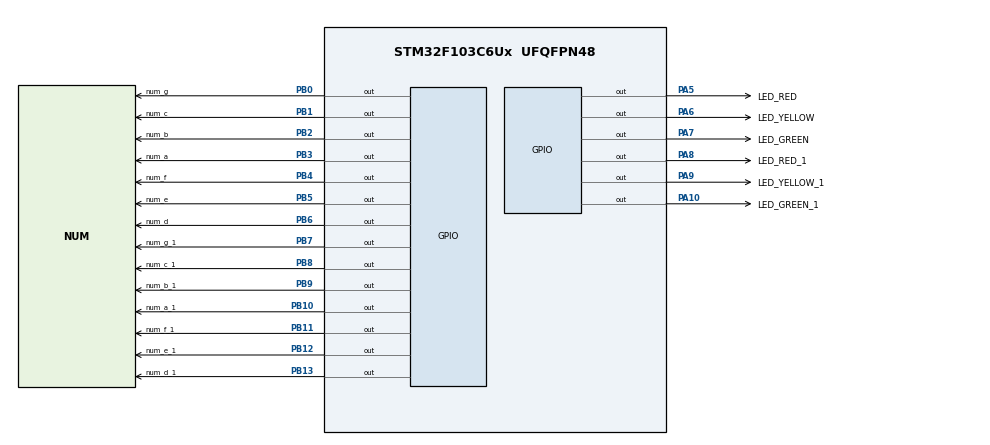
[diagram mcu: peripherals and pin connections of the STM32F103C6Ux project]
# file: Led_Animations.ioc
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Mcu.Family=STM32F1
Mcu.Name=STM32F103C6Ux
Mcu.Package=UFQFPN48
NVIC.PriorityGroup=NVIC_PRIORITYGROUP_4
NVIC.TIM2_IRQn=true\:0\:0\:false\:false\:true\:true\:true
PA10.GPIO_Label=LED_GREEN_1
PA10.Signal=GPIO_Output
PA5.GPIO_Label=LED_RED
PA5.Signal=GPIO_Output
PA6.GPIO_Label=LED_YELLOW
PA6.Signal=GPIO_Output
PA7.GPIO_Label=LED_GREEN
PA7.Signal=GPIO_Output
PA8.GPIO_Label=LED_RED_1
PA8.Signal=GPIO_Output
PA9.GPIO_Label=LED_YELLOW_1
PA9.Signal=GPIO_Output
PB0.GPIO_Label=num_g
PB0.Signal=GPIO_Output
PB1.GPIO_Label=num_c
PB1.Signal=GPIO_Output
PB10.GPIO_Label=num_a_1
PB10.Signal=GPIO_Output
PB11.GPIO_Label=num_f_1
PB11.Signal=GPIO_Output
PB12.GPIO_Label=num_e_1
PB12.Signal=GPIO_Output
PB13.GPIO_Label=num_d_1
PB13.Signal=GPIO_Output
PB2.GPIO_Label=num_b
PB2.Signal=GPIO_Output
PB3.GPIO_Label=num_a
PB3.Signal=GPIO_Output
PB4.GPIO_Label=num_f
PB4.Signal=GPIO_Output
PB5.GPIO_Label=num_e
PB5.Signal=GPIO_Output
PB6.GPIO_Label=num_d
PB6.Signal=GPIO_Output
PB7.GPIO_Label=num_g_1
PB7.Signal=GPIO_Output
PB8.GPIO_Label=num_c_1
PB8.Signal=GPIO_Output
PB9.GPIO_Label=num_b_1
PB9.Signal=GPIO_Output
ProjectManager.HeapSize=0x200
ProjectManager.StackSize=0x400
ProjectManager.TargetToolchain=STM32CubeIDE
RCC.APB1Freq_Value=8000000
RCC.APB2Freq_Value=8000000
TIM2.Period=9
TIM2.Prescaler=7999
VP_SYS_VS_ND.Mode=No_Debug
VP_TIM2_VS_ClockSourceINT.Mode=Internal
board=custom

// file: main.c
/* USER CODE BEGIN Header */
/**
  ******************************************************************************
  * @file           : main.c
  * @brief          : Main program body
  ******************************************************************************
  * @attention
  *
  * <h2><center>&copy; Copyright (c) 2024 STMicroelectronics.
  * All rights reserved.</center></h2>
  *
  * This software component is licensed by ST under BSD 3-Clause license,
  * the "License"; You may not use this file except in compliance with the
  * License. You may obtain a copy of the License at:
  *                        opensource.org/licenses/BSD-3-Clause
  *
  ******************************************************************************
  */
/* USER CODE END Header */
#include "main.h"

/* USER CODE BEGIN Includes */
#include "software_timer.h"

/* USER CODE END Includes */

TIM_HandleTypeDef htim2;

void SystemClock_Config(void);
static void MX_GPIO_Init(void);
static void MX_TIM2_Init(void);

/* USER CODE BEGIN 0 */
void HAL_TIM_PeriodElapsedCallback(TIM_HandleTypeDef *htim)
{
	timerRun();
}
static void display7seg1(int num){
	switch(num){
	  case 0:
		  	  	HAL_GPIO_WritePin(num_a_GPIO_Port, num_a_Pin, GPIO_PIN_RESET);
		  	  	HAL_GPIO_WritePin(num_b_GPIO_Port, num_b_Pin, GPIO_PIN_RESET);
		  	  	HAL_GPIO_WritePin(num_c_GPIO_Port, num_c_Pin, GPIO_PIN_RESET);
		  	  	HAL_GPIO_WritePin(num_d_GPIO_Port, num_d_Pin, GPIO_PIN_RESET);
		  	  	HAL_GPIO_WritePin(num_e_GPIO_Port, num_e_Pin, GPIO_PIN_RESET);
		  	  	HAL_GPIO_WritePin(num_f_GPIO_Port, num_f_Pin, GPIO_PIN_RESET);
		  	  	HAL_GPIO_WritePin(num_g_GPIO_Port, num_g_Pin, GPIO_PIN_SET);
		  	  	break;
	  case 1:
	  		    HAL_GPIO_WritePin(num_a_GPIO_Port, num_a_Pin, GPIO_PIN_SET);
	  		    HAL_GPIO_WritePin(num_b_GPIO_Port, num_b_Pin, GPIO_PIN_RESET);
	  		    HAL_GPIO_WritePin(num_c_GPIO_Port, num_c_Pin, GPIO_PIN_RESET);
	  		    HAL_GPIO_WritePin(num_d_GPIO_Port, num_d_Pin, GPIO_PIN_SET);
	  		    HAL_GPIO_WritePin(num_e_GPIO_Port, num_e_Pin, GPIO_PIN_SET);
	  		    HAL_GPIO_WritePin(num_f_GPIO_Port, num_f_Pin, GPIO_PIN_SET);
	  		    HAL_GPIO_WritePin(num_g_GPIO_Port, num_g_Pin, GPIO_PIN_SET);
	  	  	    break;
	  case 2:
	  			HAL_GPIO_WritePin(num_a_GPIO_Port, num_a_Pin, GPIO_PIN_RESET);
	  			HAL_GPIO_WritePin(num_b_GPIO_Port, num_b_Pin, GPIO_PIN_RESET);
	  			HAL_GPIO_WritePin(num_c_GPIO_Port, num_c_Pin, GPIO_PIN_SET);
	  			HAL_GPIO_WritePin(num_d_GPIO_Port, num_d_Pin, GPIO_PIN_RESET);
	  			HAL_GPIO_WritePin(num_e_GPIO_Port, num_e_Pin, GPIO_PIN_RESET);
	  			HAL_GPIO_WritePin(num_f_GPIO_Port, num_f_Pin, GPIO_PIN_SET);
	  			HAL_GPIO_WritePin(num_g_GPIO_Port, num_g_Pin, GPIO_PIN_RESET);
	  			break;

	  case 3:
	  	  		HAL_GPIO_WritePin(num_a_GPIO_Port, num_a_Pin, GPIO_PIN_RESET);
	  	  		    HAL_GPIO_WritePin(num_b_GPIO_Port, num_b_Pin, GPIO_PIN_RESET);
	  	  		    HAL_GPIO_WritePin(num_c_GPIO_Port, num_c_Pin, GPIO_PIN_RESET);
	  	  		    HAL_GPIO_WritePin(num_d_GPIO_Port, num_d_Pin, GPIO_PIN_RESET);
	  	  		    HAL_GPIO_WritePin(num_e_GPIO_Port, num_e_Pin, GPIO_PIN_SET);
	  	  		    HAL_GPIO_WritePin(num_f_GPIO_Port, num_f_Pin, GPIO_PIN_SET);
	  	  		    HAL_GPIO_WritePin(num_g_GPIO_Port, num_g_Pin, GPIO_PIN_RESET);
	  	  		    break;
	  case 4:
	 	  	  		HAL_GPIO_WritePin(num_a_GPIO_Port, num_a_Pin, GPIO_PIN_SET);
	 	  	  		HAL_GPIO_WritePin(num_b_GPIO_Port, num_b_Pin, GPIO_PIN_RESET);
	 	  	  		HAL_GPIO_WritePin(num_c_GPIO_Port, num_c_Pin, GPIO_PIN_RESET);
	 	  	  		HAL_GPIO_WritePin(num_d_GPIO_Port, num_d_Pin, GPIO_PIN_SET);
	 	  	  		HAL_GPIO_WritePin(num_e_GPIO_Port, num_e_Pin, GPIO_PIN_SET);
	 	  	  		HAL_GPIO_WritePin(num_f_GPIO_Port, num_f_Pin, GPIO_PIN_RESET);
	 	  	  		HAL_GPIO_WritePin(num_g_GPIO_Port, num_g_Pin, GPIO_PIN_RESET);
	 	  	  		break;
	 case 5:
	 	  			HAL_GPIO_WritePin(num_a_GPIO_Port, num_a_Pin, GPIO_PIN_RESET);
	 	  			HAL_GPIO_WritePin(num_b_GPIO_Port, num_b_Pin, GPIO_PIN_SET);
	 	  			HAL_GPIO_WritePin(num_c_GPIO_Port, num_c_Pin, GPIO_PIN_RESET);
	 	  			HAL_GPIO_WritePin(num_d_GPIO_Port, num_d_Pin, GPIO_PIN_RESET);
	 	  			HAL_GPIO_WritePin(num_e_GPIO_Port, num_e_Pin, GPIO_PIN_SET);
	 	  			HAL_GPIO_WritePin(num_f_GPIO_Port, num_f_Pin, GPIO_PIN_RESET);
	 	  			HAL_GPIO_WritePin(num_g_GPIO_Port, num_g_Pin, GPIO_PIN_RESET);
	 	  			break;
	 case 6:
		 	  		HAL_GPIO_WritePin(num_a_GPIO_Port, num_a_Pin, GPIO_PIN_RESET);
		 	  		HAL_GPIO_WritePin(num_b_GPIO_Port, num_b_Pin, GPIO_PIN_SET);
		 	  		HAL_GPIO_WritePin(num_c_GPIO_Port, num_c_Pin, GPIO_PIN_RESET);
		 	  		HAL_GPIO_WritePin(num_d_GPIO_Port, num_d_Pin, GPIO_PIN_RESET);
		 	  		HAL_GPIO_WritePin(num_e_GPIO_Port, num_e_Pin, GPIO_PIN_RESET);
		 	  		HAL_GPIO_WritePin(num_f_GPIO_Port, num_f_Pin, GPIO_PIN_RESET);
		 	  		HAL_GPIO_WritePin(num_g_GPIO_Port, num_g_Pin, GPIO_PIN_RESET);
		 	  		break;
	 case 7:
		 	  		HAL_GPIO_WritePin(num_a_GPIO_Port, num_a_Pin, GPIO_PIN_RESET);
		 	  		HAL_GPIO_WritePin(num_b_GPIO_Port, num_b_Pin, GPIO_PIN_RESET);
		 	  		HAL_GPIO_WritePin(num_c_GPIO_Port, num_c_Pin, GPIO_PIN_RESET);
		 	  		HAL_GPIO_WritePin(num_d_GPIO_Port, num_d_Pin, GPIO_PIN_SET);
		 	  		HAL_GPIO_WritePin(num_e_GPIO_Port, num_e_Pin, GPIO_PIN_SET);
		 	  		HAL_GPIO_WritePin(num_f_GPIO_Port, num_f_Pin, GPIO_PIN_SET);
		 	  		HAL_GPIO_WritePin(num_g_GPIO_Port, num_g_Pin, GPIO_PIN_SET);
		 	  		break;
	 case 8:
		 	  		HAL_GPIO_WritePin(num_a_GPIO_Port, num_a_Pin, GPIO_PIN_RESET);
		 	  		HAL_GPIO_WritePin(num_b_GPIO_Port, num_b_Pin, GPIO_PIN_RESET);
		 	  		HAL_GPIO_WritePin(num_c_GPIO_Port, num_c_Pin, GPIO_PIN_RESET);
		 	  		HAL_GPIO_WritePin(num_d_GPIO_Port, num_d_Pin, GPIO_PIN_RESET);
		 	  		HAL_GPIO_WritePin(num_e_GPIO_Port, num_e_Pin, GPIO_PIN_RESET);
		 	  		HAL_GPIO_WritePin(num_f_GPIO_Port, num_f_Pin, GPIO_PIN_RESET);
		 	  		HAL_GPIO_WritePin(num_g_GPIO_Port, num_g_Pin, GPIO_PIN_RESET);
		 	  		break;
	 case 9:
		 	  		HAL_GPIO_WritePin(num_a_GPIO_Port, num_a_Pin, GPIO_PIN_RESET);
		 	  		HAL_GPIO_WritePin(num_b_GPIO_Port, num_b_Pin, GPIO_PIN_RESET);
		 	  		HAL_GPIO_WritePin(num_c_GPIO_Port, num_c_Pin, GPIO_PIN_RESET);
		 	  		HAL_GPIO_WritePin(num_d_GPIO_Port, num_d_Pin, GPIO_PIN_RESET);
		 	  		HAL_GPIO_WritePin(num_e_GPIO_Port, num_e_Pin, GPIO_PIN_SET);
		 	  		HAL_GPIO_WritePin(num_f_GPIO_Port, num_f_Pin, GPIO_PIN_RESET);
		 	  		HAL_GPIO_WritePin(num_g_GPIO_Port, num_g_Pin, GPIO_PIN_RESET);
		 	  		break;
	default:
					HAL_GPIO_WritePin(num_a_GPIO_Port, num_a_Pin, GPIO_PIN_SET);
					HAL_GPIO_WritePin(num_b_GPIO_Port, num_b_Pin, GPIO_PIN_SET);
					HAL_GPIO_WritePin(num_c_GPIO_Port, num_c_Pin, GPIO_PIN_SET);
					HAL_GPIO_WritePin(num_d_GPIO_Port, num_d_Pin, GPIO_PIN_SET);
					HAL_GPIO_WritePin(num_e_GPIO_Port, num_e_Pin, GPIO_PIN_SET);
					HAL_GPIO_WritePin(num_f_GPIO_Port, num_f_Pin, GPIO_PIN_SET);
					HAL_GPIO_WritePin(num_g_GPIO_Port, num_g_Pin, GPIO_PIN_SET);
					break;
	}
}
static void display7seg2(int num){
    switch(num){
        case 0:
            HAL_GPIO_WritePin(num_a_1_GPIO_Port, num_a_1_Pin, GPIO_PIN_RESET);
            HAL_GPIO_WritePin(num_b_1_GPIO_Port, num_b_1_Pin, GPIO_PIN_RESET);
            HAL_GPIO_WritePin(num_c_1_GPIO_Port, num_c_1_Pin, GPIO_PIN_RESET);
            HAL_GPIO_WritePin(num_d_1_GPIO_Port, num_d_1_Pin, GPIO_PIN_RESET);
            HAL_GPIO_WritePin(num_e_1_GPIO_Port, num_e_1_Pin, GPIO_PIN_RESET);
            HAL_GPIO_WritePin(num_f_1_GPIO_Port, num_f_1_Pin, GPIO_PIN_RESET);
            HAL_GPIO_WritePin(num_g_1_GPIO_Port, num_g_1_Pin, GPIO_PIN_SET);
            break;
        case 1:
            HAL_GPIO_WritePin(num_a_1_GPIO_Port, num_a_1_Pin, GPIO_PIN_SET);
            HAL_GPIO_WritePin(num_b_1_GPIO_Port, num_b_1_Pin, GPIO_PIN_RESET);
            HAL_GPIO_WritePin(num_c_1_GPIO_Port, num_c_1_Pin, GPIO_PIN_RESET);
            HAL_GPIO_WritePin(num_d_1_GPIO_Port, num_d_1_Pin, GPIO_PIN_SET);
            HAL_GPIO_WritePin(num_e_1_GPIO_Port, num_e_1_Pin, GPIO_PIN_SET);
            HAL_GPIO_WritePin(num_f_1_GPIO_Port, num_f_1_Pin, GPIO_PIN_SET);
            HAL_GPIO_WritePin(num_g_1_GPIO_Port, num_g_1_Pin, GPIO_PIN_SET);
            break;
        case 2:
            HAL_GPIO_WritePin(num_a_1_GPIO_Port, num_a_1_Pin, GPIO_PIN_RESET);
            HAL_GPIO_WritePin(num_b_1_GPIO_Port, num_b_1_Pin, GPIO_PIN_RESET);
            HAL_GPIO_WritePin(num_c_1_GPIO_Port, num_c_1_Pin, GPIO_PIN_SET);
            HAL_GPIO_WritePin(num_d_1_GPIO_Port, num_d_1_Pin, GPIO_PIN_RESET);
            HAL_GPIO_WritePin(num_e_1_GPIO_Port, num_e_1_Pin, GPIO_PIN_RESET);
            HAL_GPIO_WritePin(num_f_1_GPIO_Port, num_f_1_Pin, GPIO_PIN_SET);
            HAL_GPIO_WritePin(num_g_1_GPIO_Port, num_g_1_Pin, GPIO_PIN_RESET);
            break;
        case 3:
            HAL_GPIO_WritePin(num_a_1_GPIO_Port, num_a_1_Pin, GPIO_PIN_RESET);
            HAL_GPIO_WritePin(num_b_1_GPIO_Port, num_b_1_Pin, GPIO_PIN_RESET);
            HAL_GPIO_WritePin(num_c_1_GPIO_Port, num_c_1_Pin, GPIO_PIN_RESET);
            HAL_GPIO_WritePin(num_d_1_GPIO_Port, num_d_1_Pin, GPIO_PIN_RESET);
            HAL_GPIO_WritePin(num_e_1_GPIO_Port, num_e_1_Pin, GPIO_PIN_SET);
            HAL_GPIO_WritePin(num_f_1_GPIO_Port, num_f_1_Pin, GPIO_PIN_SET);
            HAL_GPIO_WritePin(num_g_1_GPIO_Port, num_g_1_Pin, GPIO_PIN_RESET);
            break;
        case 4:
            HAL_GPIO_WritePin(num_a_1_GPIO_Port, num_a_1_Pin, GPIO_PIN_SET);
            HAL_GPIO_WritePin(num_b_1_GPIO_Port, num_b_1_Pin, GPIO_PIN_RESET);
            HAL_GPIO_WritePin(num_c_1_GPIO_Port, num_c_1_Pin, GPIO_PIN_RESET);
            HAL_GPIO_WritePin(num_d_1_GPIO_Port, num_d_1_Pin, GPIO_PIN_SET);
            HAL_GPIO_WritePin(num_e_1_GPIO_Port, num_e_1_Pin, GPIO_PIN_SET);
            HAL_GPIO_WritePin(num_f_1_GPIO_Port, num_f_1_Pin, GPIO_PIN_RESET);
            HAL_GPIO_WritePin(num_g_1_GPIO_Port, num_g_1_Pin, GPIO_PIN_RESET);
            break;
        case 5:
            HAL_GPIO_WritePin(num_a_1_GPIO_Port, num_a_1_Pin, GPIO_PIN_RESET);
            HAL_GPIO_WritePin(num_b_1_GPIO_Port, num_b_1_Pin, GPIO_PIN_SET);
            HAL_GPIO_WritePin(num_c_1_GPIO_Port, num_c_1_Pin, GPIO_PIN_RESET);
            HAL_GPIO_WritePin(num_d_1_GPIO_Port, num_d_1_Pin, GPIO_PIN_RESET);
            HAL_GPIO_WritePin(num_e_1_GPIO_Port, num_e_1_Pin, GPIO_PIN_SET);
            HAL_GPIO_WritePin(num_f_1_GPIO_Port, num_f_1_Pin, GPIO_PIN_RESET);
            HAL_GPIO_WritePin(num_g_1_GPIO_Port, num_g_1_Pin, GPIO_PIN_RESET);
            break;
        case 6:
            HAL_GPIO_WritePin(num_a_1_GPIO_Port, num_a_1_Pin, GPIO_PIN_RESET);
            HAL_GPIO_WritePin(num_b_1_GPIO_Port, num_b_1_Pin, GPIO_PIN_SET);
            HAL_GPIO_WritePin(num_c_1_GPIO_Port, num_c_1_Pin, GPIO_PIN_RESET);
            HAL_GPIO_WritePin(num_d_1_GPIO_Port, num_d_1_Pin, GPIO_PIN_RESET);
            HAL_GPIO_WritePin(num_e_1_GPIO_Port, num_e_1_Pin, GPIO_PIN_RESET);
            HAL_GPIO_WritePin(num_f_1_GPIO_Port, num_f_1_Pin, GPIO_PIN_RESET);
            HAL_GPIO_WritePin(num_g_1_GPIO_Port, num_g_1_Pin, GPIO_PIN_RESET);
            break;
        case 7:
            HAL_GPIO_WritePin(num_a_1_GPIO_Port, num_a_1_Pin, GPIO_PIN_RESET);
            HAL_GPIO_WritePin(num_b_1_GPIO_Port, num_b_1_Pin, GPIO_PIN_RESET);
            HAL_GPIO_WritePin(num_c_1_GPIO_Port, num_c_1_Pin, GPIO_PIN_RESET);
            HAL_GPIO_WritePin(num_d_1_GPIO_Port, num_d_1_Pin, GPIO_PIN_SET);
            HAL_GPIO_WritePin(num_e_1_GPIO_Port, num_e_1_Pin, GPIO_PIN_SET);
            HAL_GPIO_WritePin(num_f_1_GPIO_Port, num_f_1_Pin, GPIO_PIN_SET);
            HAL_GPIO_WritePin(num_g_1_GPIO_Port, num_g_1_Pin, GPIO_PIN_SET);
            break;
        case 8:
            HAL_GPIO_WritePin(num_a_1_GPIO_Port, num_a_1_Pin, GPIO_PIN_RESET);
            HAL_GPIO_WritePin(num_b_1_GPIO_Port, num_b_1_Pin, GPIO_PIN_RESET);
            HAL_GPIO_WritePin(num_c_1_GPIO_Port, num_c_1_Pin, GPIO_PIN_RESET);
            HAL_GPIO_WritePin(num_d_1_GPIO_Port, num_d_1_Pin, GPIO_PIN_RESET);
            HAL_GPIO_WritePin(num_e_1_GPIO_Port, num_e_1_Pin, GPIO_PIN_RESET);
            HAL_GPIO_WritePin(num_f_1_GPIO_Port, num_f_1_Pin, GPIO_PIN_RESET);
            HAL_GPIO_WritePin(num_g_1_GPIO_Port, num_g_1_Pin, GPIO_PIN_RESET);
            break;
        case 9:
            HAL_GPIO_WritePin(num_a_1_GPIO_Port, num_a_1_Pin, GPIO_PIN_RESET);
            HAL_GPIO_WritePin(num_b_1_GPIO_Port, num_b_1_Pin, GPIO_PIN_RESET);
            HAL_GPIO_WritePin(num_c_1_GPIO_Port, num_c_1_Pin, GPIO_PIN_RESET);
            HAL_GPIO_WritePin(num_d_1_GPIO_Port, num_d_1_Pin, GPIO_PIN_RESET);
            HAL_GPIO_WritePin(num_e_1_GPIO_Port, num_e_1_Pin, GPIO_PIN_SET);
            HAL_GPIO_WritePin(num_f_1_GPIO_Port, num_f_1_Pin, GPIO_PIN_RESET);
            HAL_GPIO_WritePin(num_g_1_GPIO_Port, num_g_1_Pin, GPIO_PIN_RESET);
            break;
        default:
            HAL_GPIO_WritePin(num_a_1_GPIO_Port, num_a_1_Pin, GPIO_PIN_SET);
            HAL_GPIO_WritePin(num_b_1_GPIO_Port, num_b_1_Pin, GPIO_PIN_SET);
            HAL_GPIO_WritePin(num_c_1_GPIO_Port, num_c_1_Pin, GPIO_PIN_SET);
            HAL_GPIO_WritePin(num_d_1_GPIO_Port, num_d_1_Pin, GPIO_PIN_SET);
            HAL_GPIO_WritePin(num_e_1_GPIO_Port, num_e_1_Pin, GPIO_PIN_SET);
            HAL_GPIO_WritePin(num_f_1_GPIO_Port, num_f_1_Pin, GPIO_PIN_SET);
            HAL_GPIO_WritePin(num_g_1_GPIO_Port, num_g_1_Pin, GPIO_PIN_SET);
            break;
        }
}

/* Define states for the LED patterns */

/* USER CODE END 0 */

int main(void)
{

  /* MCU Configuration--------------------------------------------------------*/

  /* Reset of all peripherals, Initializes the Flash interface and the Systick. */
  HAL_Init();

  /* Configure the system clock */
  SystemClock_Config();

  /* Initialize all configured peripherals */
  MX_GPIO_Init();
  MX_TIM2_Init();
  /* USER CODE BEGIN 2 */
HAL_TIM_Base_Start_IT(&htim2);
int redstate = 0;
int states = 0;
setTimer(0, 500);
setTimer(1, 300);
  /* USER CODE END 2 */

  /* Infinite loop */
  /* USER CODE BEGIN WHILE */

 while (1) {
	  switch(redstate){
	  case 0:
		  HAL_GPIO_WritePin(LED_RED_GPIO_Port, LED_RED_Pin, GPIO_PIN_RESET);
		  HAL_GPIO_WritePin(LED_RED_1_GPIO_Port, LED_RED_1_Pin, GPIO_PIN_SET);

		  if(isTimerExpired(0) == 1) {
			  redstate = 1;
			  setTimer(0,500); //5 seconds for RED OFF
			  }
			  switch(states){
				  case 0:
					  HAL_GPIO_WritePin(LED_GREEN_1_GPIO_Port, LED_GREEN_1_Pin, GPIO_PIN_RESET);
					  HAL_GPIO_WritePin(LED_YELLOW_1_GPIO_Port, LED_YELLOW_1_Pin, GPIO_PIN_SET);
					  if(isTimerExpired(1) == 1) {
						  states = 1;
						  setTimer(2,200); // 2 second for YELLOW ON AND
					  }
					  display7seg2( (timer_counter[1]+100) / 100);
					  break;
				  case 1:
					  HAL_GPIO_WritePin(LED_YELLOW_1_GPIO_Port, LED_YELLOW_1_Pin, GPIO_PIN_RESET);
					  HAL_GPIO_WritePin(LED_GREEN_1_GPIO_Port, LED_GREEN_1_Pin, GPIO_PIN_SET);
					  if(isTimerExpired(2) == 1){
						  redstate = 1;
						  states = 0;
						  setTimer(0,500);
						  setTimer(1,300);
						  HAL_GPIO_WritePin(LED_YELLOW_1_GPIO_Port, LED_YELLOW_1_Pin, GPIO_PIN_SET);
					  }
					  display7seg2( (timer_counter[2]+100) / 100);
					  break;
				  }
			  display7seg1( (timer_counter[0]+100) / 100);
		  break;
	  case 1:
		  HAL_GPIO_WritePin(LED_RED_GPIO_Port, LED_RED_Pin, GPIO_PIN_SET);
		  HAL_GPIO_WritePin(LED_RED_1_GPIO_Port, LED_RED_1_Pin, GPIO_PIN_RESET);
		  if(isTimerExpired(0) == 1) {
			  redstate = 0;
			  setTimer(0,500); //5 seconds for RED ON
		  }
		  switch(states){
		  				  case 0:
		  					  HAL_GPIO_WritePin(LED_GREEN_GPIO_Port, LED_GREEN_Pin, GPIO_PIN_RESET);
		  					  HAL_GPIO_WritePin(LED_YELLOW_GPIO_Port, LED_YELLOW_Pin, GPIO_PIN_SET);
		  					  if(isTimerExpired(1) == 1) {
		  						  states = 1;
		  						  setTimer(2,200);
		  					  }
		  					display7seg1( (timer_counter[1]+100) / 100);
		  					  break;
		  				  case 1:
		  					  HAL_GPIO_WritePin(LED_YELLOW_GPIO_Port, LED_YELLOW_Pin, GPIO_PIN_RESET);
		  					  HAL_GPIO_WritePin(LED_GREEN_GPIO_Port, LED_GREEN_Pin, GPIO_PIN_SET);
		  					  if(isTimerExpired(2) == 1){
		  						  redstate = 0;
		  						  states = 0;
		  						  setTimer(0,500);
		  						  setTimer(1,300);
		  						  HAL_GPIO_WritePin(LED_YELLOW_GPIO_Port, LED_YELLOW_Pin, GPIO_PIN_SET);
		  					  }
		  					display7seg1( (timer_counter[2]+100) / 100);
		  					  break;
		  				  }
		  display7seg2( (timer_counter[0]+100) / 100);
		  break;
	  }

    /* USER CODE END WHILE */

  }
}

void SystemClock_Config(void)
{
  RCC_OscInitTypeDef RCC_OscInitStruct = {0};
  RCC_ClkInitTypeDef RCC_ClkInitStruct = {0};

  /** Initializes the RCC Oscillators according to the specified parameters
  * in the RCC_OscInitTypeDef structure.
  */
  RCC_OscInitStruct.OscillatorType = RCC_OSCILLATORTYPE_HSI;
  RCC_OscInitStruct.HSIState = RCC_HSI_ON;
  RCC_OscInitStruct.HSICalibrationValue = RCC_HSICALIBRATION_DEFAULT;
  RCC_OscInitStruct.PLL.PLLState = RCC_PLL_NONE;
  if (HAL_RCC_OscConfig(&RCC_OscInitStruct) != HAL_OK)
  {
    Error_Handler();
  }
  /** Initializes the CPU, AHB and APB buses clocks
  */
  RCC_ClkInitStruct.ClockType = RCC_CLOCKTYPE_HCLK|RCC_CLOCKTYPE_SYSCLK
                              |RCC_CLOCKTYPE_PCLK1|RCC_CLOCKTYPE_PCLK2;
  RCC_ClkInitStruct.SYSCLKSource = RCC_SYSCLKSOURCE_HSI;
  RCC_ClkInitStruct.AHBCLKDivider = RCC_SYSCLK_DIV1;
  RCC_ClkInitStruct.APB1CLKDivider = RCC_HCLK_DIV1;
  RCC_ClkInitStruct.APB2CLKDivider = RCC_HCLK_DIV1;

  if (HAL_RCC_ClockConfig(&RCC_ClkInitStruct, FLASH_LATENCY_0) != HAL_OK)
  {
    Error_Handler();
  }
}

static void MX_TIM2_Init(void)
{

  TIM_ClockConfigTypeDef sClockSourceConfig = {0};
  TIM_MasterConfigTypeDef sMasterConfig = {0};

  htim2.Instance = TIM2;
  htim2.Init.Prescaler = 7999;
  htim2.Init.CounterMode = TIM_COUNTERMODE_UP;
  htim2.Init.Period = 9;
  htim2.Init.ClockDivision = TIM_CLOCKDIVISION_DIV1;
  htim2.Init.AutoReloadPreload = TIM_AUTORELOAD_PRELOAD_DISABLE;
  if (HAL_TIM_Base_Init(&htim2) != HAL_OK)
  {
    Error_Handler();
  }
  sClockSourceConfig.ClockSource = TIM_CLOCKSOURCE_INTERNAL;
  if (HAL_TIM_ConfigClockSource(&htim2, &sClockSourceConfig) != HAL_OK)
  {
    Error_Handler();
  }
  sMasterConfig.MasterOutputTrigger = TIM_TRGO_RESET;
  sMasterConfig.MasterSlaveMode = TIM_MASTERSLAVEMODE_DISABLE;
  if (HAL_TIMEx_MasterConfigSynchronization(&htim2, &sMasterConfig) != HAL_OK)
  {
    Error_Handler();
  }

}

static void MX_GPIO_Init(void)
{
  GPIO_InitTypeDef GPIO_InitStruct = {0};

  /* GPIO Ports Clock Enable */
  __HAL_RCC_GPIOA_CLK_ENABLE();
  __HAL_RCC_GPIOB_CLK_ENABLE();

  /*Configure GPIO pin Output Level */
  HAL_GPIO_WritePin(GPIOA, LED_RED_Pin|LED_YELLOW_Pin|LED_GREEN_Pin|LED_RED_1_Pin
                          |LED_YELLOW_1_Pin|LED_GREEN_1_Pin, GPIO_PIN_SET);

  /*Configure GPIO pin Output Level */
  HAL_GPIO_WritePin(GPIOB, num_g_Pin|num_c_Pin|num_b_Pin|num_a_1_Pin
                          |num_f_1_Pin|num_e_1_Pin|num_d_1_Pin|num_a_Pin
                          |num_f_Pin|num_e_Pin|num_d_Pin|num_g_1_Pin
                          |num_c_1_Pin|num_b_1_Pin, GPIO_PIN_SET);

  /*Configure GPIO pins : LED_RED_Pin LED_YELLOW_Pin LED_GREEN_Pin LED_RED_1_Pin
                           LED_YELLOW_1_Pin LED_GREEN_1_Pin */
  GPIO_InitStruct.Pin = LED_RED_Pin|LED_YELLOW_Pin|LED_GREEN_Pin|LED_RED_1_Pin
                          |LED_YELLOW_1_Pin|LED_GREEN_1_Pin;
  GPIO_InitStruct.Mode = GPIO_MODE_OUTPUT_PP;
  GPIO_InitStruct.Pull = GPIO_NOPULL;
  GPIO_InitStruct.Speed = GPIO_SPEED_FREQ_LOW;
  HAL_GPIO_Init(GPIOA, &GPIO_InitStruct);

  /*Configure GPIO pins : num_g_Pin num_c_Pin num_b_Pin num_a_1_Pin
                           num_f_1_Pin num_e_1_Pin num_d_1_Pin num_a_Pin
                           num_f_Pin num_e_Pin num_d_Pin num_g_1_Pin
                           num_c_1_Pin num_b_1_Pin */
  GPIO_InitStruct.Pin = num_g_Pin|num_c_Pin|num_b_Pin|num_a_1_Pin
                          |num_f_1_Pin|num_e_1_Pin|num_d_1_Pin|num_a_Pin
                          |num_f_Pin|num_e_Pin|num_d_Pin|num_g_1_Pin
                          |num_c_1_Pin|num_b_1_Pin;
  GPIO_InitStruct.Mode = GPIO_MODE_OUTPUT_PP;
  GPIO_InitStruct.Pull = GPIO_NOPULL;
  GPIO_InitStruct.Speed = GPIO_SPEED_FREQ_LOW;
  HAL_GPIO_Init(GPIOB, &GPIO_InitStruct);

}

void Error_Handler(void)
{
  __disable_irq();
  while (1)
  {
  }
}

/************************ (C) COPYRIGHT STMicroelectronics *****END OF FILE****/
